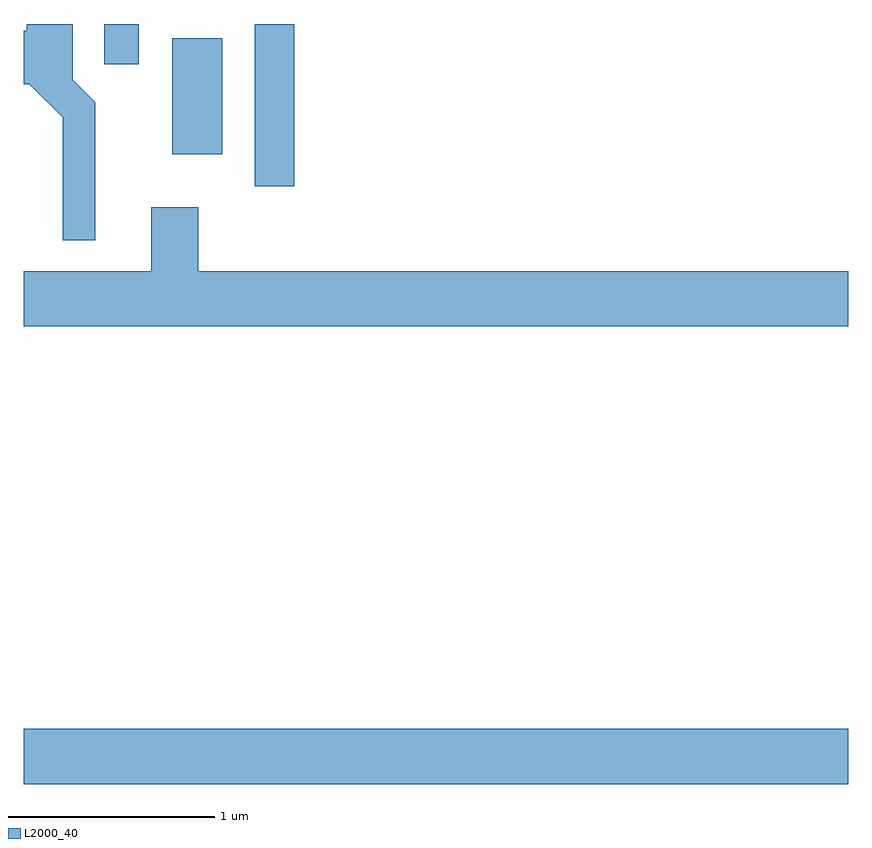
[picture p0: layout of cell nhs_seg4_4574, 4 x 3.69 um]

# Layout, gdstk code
import gdstk
lib = gdstk.Library(unit=1e-6, precision=1e-09)
def R(c, l, rs):  # rectangles x0, y0, x1, y1
    for r in rs: c.add(gdstk.rectangle(r[:2], r[2:], *l))
def P(c, l, *ps):  # polygons
    for p in ps: c.add(gdstk.Polygon(p, *l))
L2000_40 = (2000, 40)

nhs_seg4_4574 = lib.new_cell('nhs_seg4_4574')
R(nhs_seg4_4574, L2000_40, [(319.611,1290.296,323.611,1290.564), (320.731,1293.196,320.924,1293.982), (320.331,1293.351,320.574,1293.914), (320.001,1293.788,320.169,1293.982)])
P(nhs_seg4_4574, L2000_40, [(319.959,1293.602),(319.849,1293.712),(319.849,1293.982),(319.626,1293.982),(319.626,1293.949),(319.611,1293.949),(319.611,1293.691),(319.639,1293.691),(319.801,1293.529),(319.801,1292.933),(319.959,1292.933)],
  [(323.611,1292.784),(320.459,1292.784),(320.459,1293.094),(320.231,1293.094),(320.231,1292.784),(319.611,1292.784),(319.611,1292.516),(323.611,1292.516)])

lib.write_gds('nhs_seg4_4574.gds')
